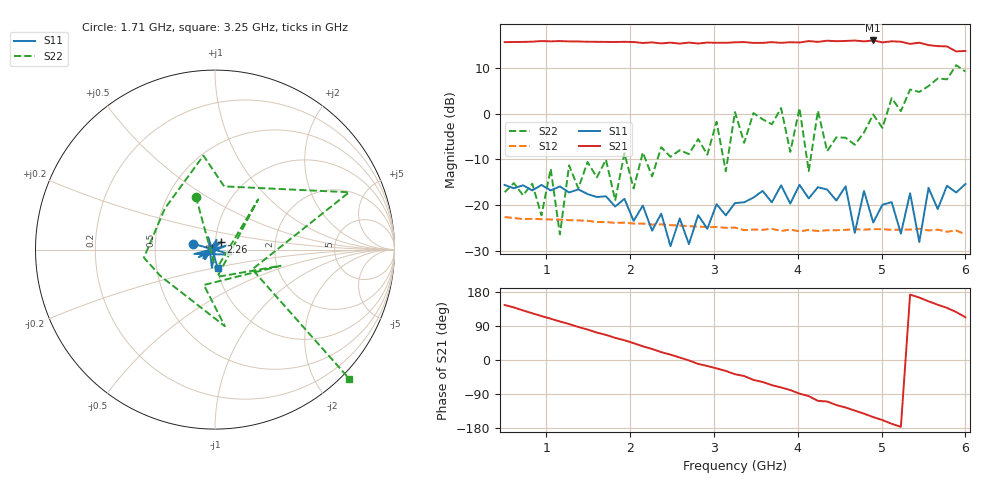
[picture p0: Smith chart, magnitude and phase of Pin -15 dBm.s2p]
! RsaToolbox (C) 2015 Rohde & Schwarz America
! Number of points: 51
! Number of ports: 2
! Balanced ports?: No
# Hz S RI R 50
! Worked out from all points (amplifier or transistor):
!   51 points, 500 MHz to 6 GHz, reference 50 ohm
!   highest |S21| = 15.9 dB at 4.9 GHz (marker M1)
!   |S21| within 3 dB of that: start of sweep to end of sweep
!   unconditionally stable (mu >= 1): start of sweep to 3.005 GHz; 3.046 GHz to 3.219 GHz; 4.292 GHz to 4.795 GHz (the widest 3 of 6)
!   at 1.38 GHz: K = 1.34, MAG = 16.0 dB, |S12| = -23.3 dB
!   at 3.25 GHz: K = 0.12, MSG = 20.2 dB, |S12| = -24.9 dB
!   at 6 GHz: K = -14.79, MSG = 20.0 dB, |S12| = -26.3 dB
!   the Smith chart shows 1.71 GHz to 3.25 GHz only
!   S11 on the Smith chart (normalised r, x): 1.71 GHz: 0.78, +0.05; 2.26 GHz: 1.06, +0.09; 3.25 GHz: 1.01, -0.21
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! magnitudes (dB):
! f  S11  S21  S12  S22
! 500 MHz  -15.6  15.6  -22.6  -17.2
! 940 MHz  -15.6  15.8  -23.0  -22.2
! 1.05 GHz  -16.8  15.7  -23.1  -12.0
! 1.16 GHz  -15.9  15.8  -23.1  -26.3
! 1.27 GHz  -17.2  15.7  -23.3  -11.3
! 1.49 GHz  -17.5  15.7  -23.4  -10.5
! 1.71 GHz  -18.0  15.6  -23.7  -10.1
! 2.26 GHz  -25.5  15.5  -24.2  -13.7
! 2.37 GHz  -21.8  15.3  -24.2  -7.3
! 3.03 GHz  -19.8  15.4  -24.7  -1.8
! 3.14 GHz  -22.2  15.4  -24.9  -12.6
! 3.25 GHz  -19.5  15.5  -24.9  0.3
! 3.91 GHz  -19.6  15.6  -25.3  -8.4
! 4.02 GHz  -15.5  15.5  -25.7  1.2
! 4.13 GHz  -18.5  15.8  -25.4  -12.6
! 4.24 GHz  -16.1  15.6  -25.6  0.6
! 4.35 GHz  -16.6  15.9  -25.4  -8.2
! 4.9 GHz  -23.7  15.9  -25.2  -0.2
! 5.12 GHz  -19.3  15.8  -25.4  3.4
! 5.45 GHz  -28.0  15.5  -25.1  4.7
! 5.56 GHz  -16.2  14.9  -25.5  6.0
! 6 GHz  -15.4  13.7  -26.3  9.2
